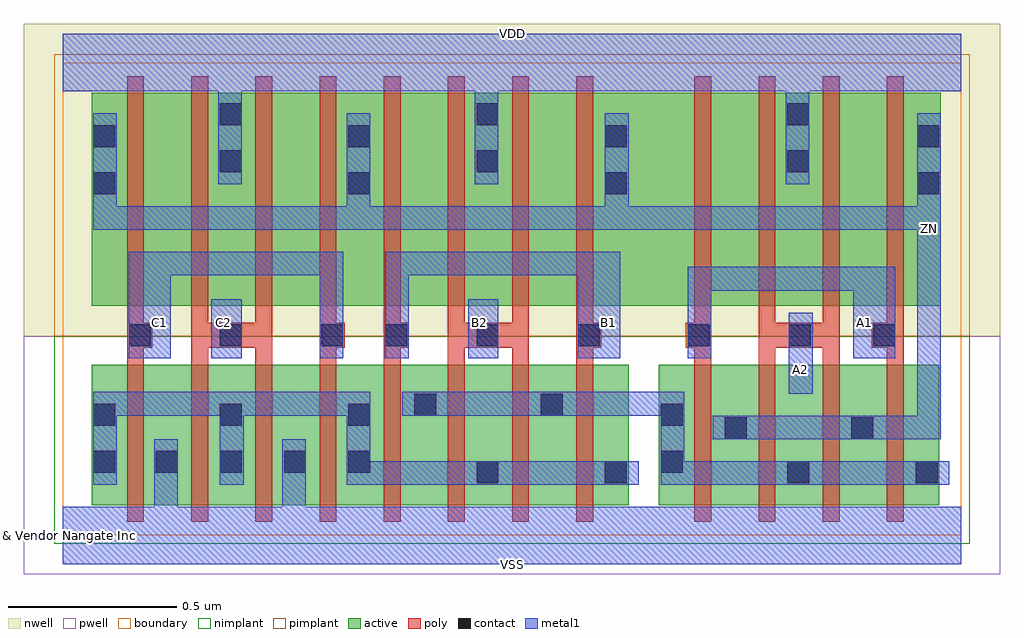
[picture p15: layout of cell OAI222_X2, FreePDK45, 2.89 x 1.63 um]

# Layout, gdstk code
import gdstk
lib = gdstk.Library(unit=1e-6, precision=1e-10)
def R(c, l, rs):  # rectangles x0, y0, x1, y1
    for r in rs: c.add(gdstk.rectangle(r[:2], r[2:], *l))
def A(c, l, x, y, w, h, nx, ny, dx, dy):  # array of equal rectangles
    R(c, l, [(x+i*dx, y+j*dy, x+i*dx+w, y+j*dy+h) for i in range(nx) for j in range(ny)])
def P(c, l, *ps):  # polygons
    for p in ps: c.add(gdstk.Polygon(p, *l))
active = (1, 0)
pwell = (2, 0)
nwell = (3, 0)
nimplant = (4, 0)
pimplant = (5, 0)
poly = (9, 0)
contact = (10, 0)
metal1 = (11, 0)
boundary = (235, 0)

oai222_x2 = lib.new_cell('OAI222_X2')
R(oai222_x2, active, [(0.085,0.09,1.675,0.505), (1.765,0.09,2.595,0.505), (0.085,0.68,2.6,1.31)])
R(oai222_x2, pwell, [(-0.115,-0.115,2.775,0.59)])
R(oai222_x2, nwell, [(-0.115,0.59,2.775,1.515)])
R(oai222_x2, nimplant, [(-0.025,-0.025,2.685,0.59)])
R(oai222_x2, pimplant, [(-0.025,0.59,2.685,1.425)])
P(oai222_x2, poly, [(0.19,0.04),(0.19,1.36),(0.24,1.36),(0.24,0.63),(0.265,0.63),(0.265,0.555),(0.24,0.555),(0.24,0.04)],
  [(0.38,0.04),(0.38,1.36),(0.43,1.36),(0.43,0.63),(0.57,0.63),(0.57,1.36),(0.62,1.36),(0.62,0.04),(0.57,0.04),(0.57,0.555),(0.43,0.555),(0.43,0.04)],
  [(0.76,0.04),(0.76,1.36),(0.81,1.36),(0.81,0.63),(0.835,0.63),(0.835,0.555),(0.81,0.555),(0.81,0.04)],
  [(0.95,0.04),(0.95,1.36),(1,1.36),(1,0.63),(1.025,0.63),(1.025,0.555),(1,0.555),(1,0.04)],
  [(1.14,0.04),(1.14,1.36),(1.19,1.36),(1.19,0.63),(1.33,0.63),(1.33,1.36),(1.38,1.36),(1.38,0.04),(1.33,0.04),(1.33,0.555),(1.19,0.555),(1.19,0.04)],
  [(1.52,0.04),(1.52,1.36),(1.57,1.36),(1.57,0.63),(1.595,0.63),(1.595,0.555),(1.57,0.555),(1.57,0.04)],
  [(1.87,0.04),(1.87,0.555),(1.845,0.555),(1.845,0.63),(1.87,0.63),(1.87,1.36),(1.92,1.36),(1.92,0.04)],
  [(2.06,0.04),(2.06,1.36),(2.11,1.36),(2.11,0.63),(2.25,0.63),(2.25,1.36),(2.3,1.36),(2.3,0.04),(2.25,0.04),(2.25,0.555),(2.11,0.555),(2.11,0.04)],
  [(2.44,0.04),(2.44,0.555),(2.395,0.555),(2.395,0.63),(2.44,0.63),(2.44,1.36),(2.49,1.36),(2.49,0.04)])
A(oai222_x2, contact, 0.275, 0.185, 0.065, 0.065, 4, 1, 0.19, 0)
R(oai222_x2, contact, [(1.225,0.155,1.29,0.22), (1.605,0.155,1.67,0.22), (2.145,0.155,2.21,0.22), (2.525,0.155,2.59,0.22), (0.09,0.185,0.155,0.25), (1.77,0.185,1.835,0.25), (1.96,0.285,2.025,0.35), (2.335,0.285,2.4,0.35), (0.09,0.325,0.155,0.39), (0.465,0.325,0.53,0.39), (0.845,0.325,0.91,0.39), (1.77,0.325,1.835,0.39), (1.04,0.355,1.105,0.42), (1.415,0.355,1.48,0.42), (0.195,0.56,0.26,0.625), (0.465,0.56,0.53,0.625), (0.765,0.56,0.83,0.625), (0.955,0.56,1.02,0.625), (1.225,0.56,1.29,0.625), (1.525,0.56,1.59,0.625), (1.85,0.56,1.915,0.625), (2.15,0.56,2.215,0.625), (2.4,0.56,2.465,0.625), (0.09,1.01,0.155,1.075), (0.845,1.01,0.91,1.075), (1.605,1.01,1.67,1.075), (2.53,1.01,2.595,1.075), (0.465,1.075,0.53,1.14), (1.225,1.075,1.29,1.14), (2.145,1.075,2.21,1.14), (0.09,1.15,0.155,1.215), (0.845,1.15,0.91,1.215), (1.605,1.15,1.67,1.215), (2.53,1.15,2.595,1.215), (0.465,1.215,0.53,1.28), (1.225,1.215,1.29,1.28), (2.145,1.215,2.21,1.28)])
R(oai222_x2, metal1, [(2.15,0.42,2.22,0.66), (0.44,0.525,0.53,0.7), (1.2,0.525,1.29,0.7)])
P(oai222_x2, metal1, [(0.195,0.525),(0.195,0.84),(0.83,0.84),(0.83,0.525),(0.76,0.525),(0.76,0.77),(0.32,0.77),(0.32,0.525)],
  [(0.955,0.525),(0.955,0.84),(1.65,0.84),(1.65,0.525),(1.525,0.525),(1.525,0.77),(1.025,0.77),(1.025,0.525)],
  [(0.09,0.15),(0.09,0.425),(0.91,0.425),(0.91,0.22),(1.705,0.22),(1.705,0.15),(0.84,0.15),(0.84,0.355),(0.535,0.355),(0.535,0.15),(0.465,0.15),(0.465,0.355),(0.16,0.355),(0.16,0.15)],
  [(1.85,0.525),(1.85,0.795),(2.465,0.795),(2.465,0.525),(2.34,0.525),(2.34,0.725),(1.92,0.725),(1.92,0.525)],
  [(1.925,0.285),(1.925,0.355),(2.53,0.355),(2.53,0.905),(0.09,0.905),(0.09,1.25),(0.16,1.25),(0.16,0.975),(0.84,0.975),(0.84,1.25),(0.91,1.25),(0.91,0.975),(1.605,0.975),(1.605,1.25),(1.675,1.25),(1.675,0.975),(2.53,0.975),(2.53,1.25),(2.6,1.25),(2.6,0.285)],
  [(1.77,0.15),(1.77,0.355),(1.005,0.355),(1.005,0.425),(1.84,0.425),(1.84,0.22),(2.625,0.22),(2.625,0.15)],
  [(0,-0.085),(0,0.085),(0.27,0.085),(0.27,0.285),(0.34,0.285),(0.34,0.085),(0.65,0.085),(0.65,0.285),(0.72,0.285),(0.72,0.085),(2.66,0.085),(2.66,-0.085)],
  [(0.46,1.04),(0.46,1.315),(0,1.315),(0,1.485),(2.66,1.485),(2.66,1.315),(2.21,1.315),(2.21,1.04),(2.14,1.04),(2.14,1.315),(1.29,1.315),(1.29,1.04),(1.22,1.04),(1.22,1.315),(0.53,1.315),(0.53,1.04)])
R(oai222_x2, boundary, [(0,0,2.66,1.4)])
oai222_x2.add(gdstk.Label('A1', (2.375,0.63), layer=11, texttype=0))
oai222_x2.add(gdstk.Label('A2', (2.185,0.49), layer=11, texttype=0))
oai222_x2.add(gdstk.Label('B1', (1.615,0.63), layer=11, texttype=0))
oai222_x2.add(gdstk.Label('B2', (1.235,0.63), layer=11, texttype=0))
oai222_x2.add(gdstk.Label('C1', (0.285,0.63), layer=11, texttype=0))
oai222_x2.add(gdstk.Label('C2', (0.475,0.63), layer=11, texttype=0))
oai222_x2.add(gdstk.Label('VDD', (1.33,1.485), layer=11, texttype=0))
oai222_x2.add(gdstk.Label('VSS', (1.33,-0.085), layer=11, texttype=0))
oai222_x2.add(gdstk.Label('ZN', (2.565,0.91), layer=11, texttype=0))
oai222_x2.add(gdstk.Label('& Vendor Nangate Inc', (0,0), layer=63, texttype=63))
oai222_x2.add(gdstk.Label('& Product Open Cell Library', (0,0), layer=63, texttype=63))
oai222_x2.add(gdstk.Label('& Version 2010_12', (0,0), layer=63, texttype=63))
oai222_x2.add(gdstk.Label('& Instance OAI222_X2', (0,0), layer=63, texttype=63))

lib.write_gds('OAI222_X2.gds')
